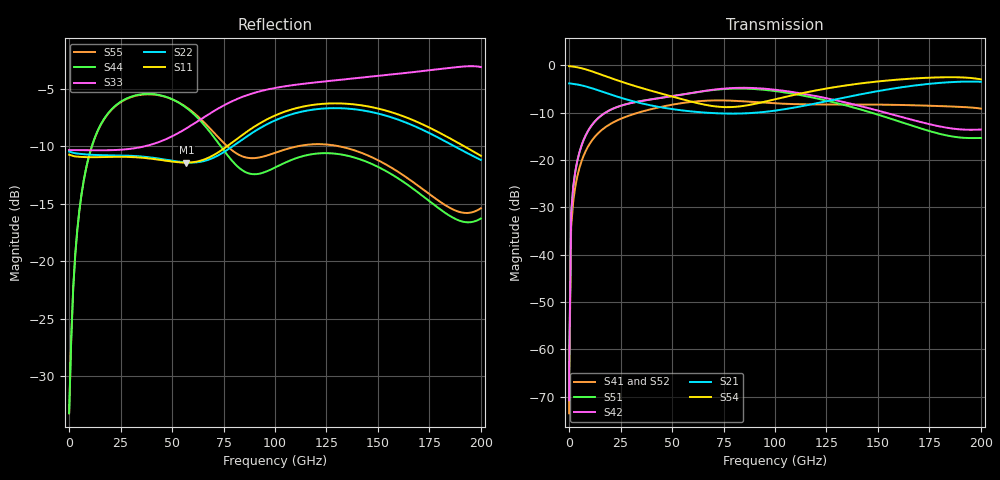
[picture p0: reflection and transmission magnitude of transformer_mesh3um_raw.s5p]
#  GHZ S DB R 50.0
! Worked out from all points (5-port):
!   202 points, 10 MHz to 200 GHz, reference 50 ohm
!   strongest paths, dB at 10 MHz, 49 GHz, 100 GHz, 150 GHz, 200 GHz:
!     S54: -0.2, -6.5, -7.2, -3.4, -3.0
!     S21: -3.8, -9.2, -9.6, -5.5, -3.5
!     S42: -70.8, -6.6, -5.2, -9.6, -13.6
!     S51: -70.8, -6.6, -5.4, -10.4, -15.4
!     S41: -73.5, -8.4, -8.0, -8.3, -9.2
!     S52: -73.5, -8.5, -8.1, -8.5, -9.4
!   lowest |S11| = -11.4 dB at 57 GHz (marker M1), VSWR 1.73, Z = 71.2 + j25.6 ohm
!   |S11| at or under -10 dB: start of sweep to 76.69 GHz; 191.9 GHz to end of sweep
